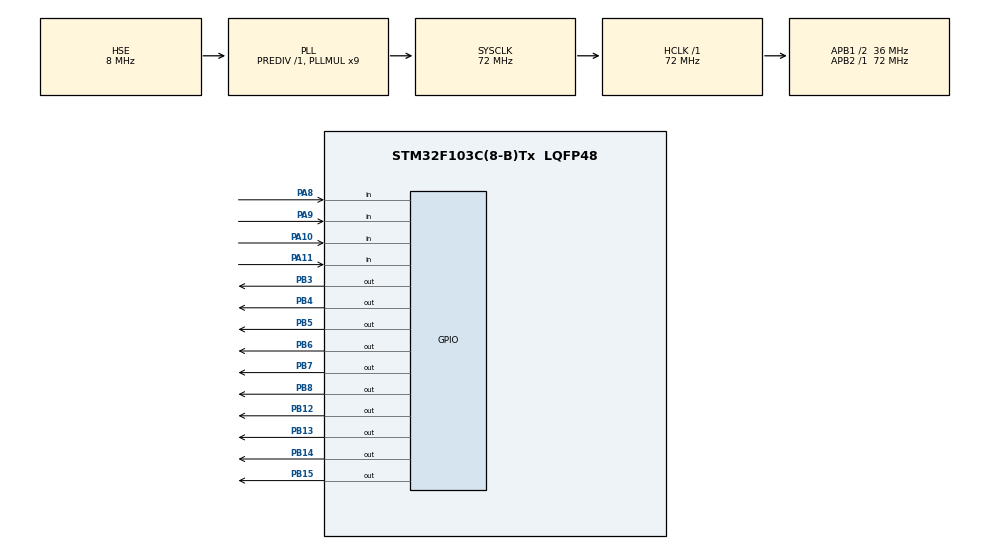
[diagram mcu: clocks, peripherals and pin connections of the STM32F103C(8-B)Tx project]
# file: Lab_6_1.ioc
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Mcu.Family=STM32F1
Mcu.Name=STM32F103C(8-B)Tx
Mcu.Package=LQFP48
NVIC.PriorityGroup=NVIC_PRIORITYGROUP_4
PA10.GPIO_PuPd=GPIO_PULLUP
PA10.Signal=GPIO_Input
PA11.GPIO_PuPd=GPIO_PULLUP
PA11.Signal=GPIO_Input
PA13.Mode=Serial_Wire
PA13.Signal=SYS_JTMS-SWDIO
PA14.Mode=Serial_Wire
PA14.Signal=SYS_JTCK-SWCLK
PA8.GPIO_PuPd=GPIO_PULLUP
PA8.Signal=GPIO_Input
PA9.GPIO_PuPd=GPIO_PULLUP
PA9.Signal=GPIO_Input
PB12.Signal=GPIO_Output
PB13.Signal=GPIO_Output
PB14.Signal=GPIO_Output
PB15.Signal=GPIO_Output
PB3.Signal=GPIO_Output
PB4.Signal=GPIO_Output
PB5.Signal=GPIO_Output
PB6.Signal=GPIO_Output
PB7.Signal=GPIO_Output
PB8.Signal=GPIO_Output
PD0-OSC_IN.Mode=HSE-External-Oscillator
PD0-OSC_IN.Signal=RCC_OSC_IN
PD1-OSC_OUT.Mode=HSE-External-Oscillator
PD1-OSC_OUT.Signal=RCC_OSC_OUT
ProjectManager.HeapSize=0x200
ProjectManager.StackSize=0x400
ProjectManager.TargetToolchain=STM32CubeIDE
RCC.AHBFreq_Value=72000000
RCC.APB1CLKDivider=RCC_HCLK_DIV2
RCC.APB1Freq_Value=36000000
RCC.APB1TimFreq_Value=72000000
RCC.APB2Freq_Value=72000000
RCC.APB2TimFreq_Value=72000000
RCC.HCLKFreq_Value=72000000
RCC.PLLMUL=RCC_PLL_MUL9
RCC.PLLSourceVirtual=RCC_PLLSOURCE_HSE
RCC.SYSCLKFreq_VALUE=72000000
RCC.SYSCLKSource=RCC_SYSCLKSOURCE_PLLCLK
RCC.USBFreq_Value=72000000
board=custom

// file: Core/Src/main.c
/* USER CODE BEGIN Header */
/**
 ******************************************************************************
 * @file           : main.c
 * @brief          : Main program body
 ******************************************************************************
 * @attention
 *
 * Copyright (c) 2024 STMicroelectronics.
 * All rights reserved.
 *
 * This software is licensed under terms that can be found in the LICENSE file
 * in the root directory of this software component.
 * If no LICENSE file comes with this software, it is provided AS-IS.
 *
 ******************************************************************************
 */
/* USER CODE END Header */
#include "main.h"

/* USER CODE BEGIN Includes */
#include "lcd.h"
#include "stdio.h"
/* USER CODE END Includes */

/* USER CODE BEGIN PV */
char str[16];
char key;
/* USER CODE END PV */

void SystemClock_Config(void);
static void MX_GPIO_Init(void);

int main(void) {

	/* MCU Configuration--------------------------------------------------------*/

	/* Reset of all peripherals, Initializes the Flash interface and the Systick. */
	HAL_Init();

	/* Configure the system clock */
	SystemClock_Config();

	/* Initialize all configured peripherals */
	MX_GPIO_Init();
	  /* USER CODE BEGIN 2 */
	  #define MAX_N 10
	  uint8_t n;
	  int16_t tryCount;
	  int8_t keyInt;
	  LCD_init();
	  LCD_String("Eneter 1..9");
	  // hal_tickc
	  n = rand() % MAX_N;
	    tryCount = n;
	    while(tryCount){
	    char key = read_keypad();
	    if('0' <= key && key <= '9'){
	      keyInt = key - '0';
	      tryCount--;
	      LCD_Clear();
	      LCD_SetPos(0, 1);
	      LCD_SendChar(key);
	      LCD_SetPos(0, 0);
	      if(n < keyInt) LCD_String("Number lower");
	      else if(n > keyInt) LCD_String("Number higher");
	      else tryCount = 0;
	    }
	  }

	  LCD_Clear();
	  LCD_SetPos(0, 1);
	  if(n == keyInt)     LCD_String("You win!");
	  else LCD_String("STM32 wins!");
	  /* USER CODE END 2 */

	/* Infinite loop */
	while (1) {

}
}

void SystemClock_Config(void) {
	RCC_OscInitTypeDef RCC_OscInitStruct = { 0 };
	RCC_ClkInitTypeDef RCC_ClkInitStruct = { 0 };

	/** Initializes the RCC Oscillators according to the specified parameters
	 * in the RCC_OscInitTypeDef structure.
	 */
	RCC_OscInitStruct.OscillatorType = RCC_OSCILLATORTYPE_HSE;
	RCC_OscInitStruct.HSEState = RCC_HSE_ON;
	RCC_OscInitStruct.HSEPredivValue = RCC_HSE_PREDIV_DIV1;
	RCC_OscInitStruct.HSIState = RCC_HSI_ON;
	RCC_OscInitStruct.PLL.PLLState = RCC_PLL_ON;
	RCC_OscInitStruct.PLL.PLLSource = RCC_PLLSOURCE_HSE;
	RCC_OscInitStruct.PLL.PLLMUL = RCC_PLL_MUL9;
	if (HAL_RCC_OscConfig(&RCC_OscInitStruct) != HAL_OK) {
		Error_Handler();
	}

	/** Initializes the CPU, AHB and APB buses clocks
	 */
	RCC_ClkInitStruct.ClockType = RCC_CLOCKTYPE_HCLK | RCC_CLOCKTYPE_SYSCLK
			| RCC_CLOCKTYPE_PCLK1 | RCC_CLOCKTYPE_PCLK2;
	RCC_ClkInitStruct.SYSCLKSource = RCC_SYSCLKSOURCE_PLLCLK;
	RCC_ClkInitStruct.AHBCLKDivider = RCC_SYSCLK_DIV1;
	RCC_ClkInitStruct.APB1CLKDivider = RCC_HCLK_DIV2;
	RCC_ClkInitStruct.APB2CLKDivider = RCC_HCLK_DIV1;

	if (HAL_RCC_ClockConfig(&RCC_ClkInitStruct, FLASH_LATENCY_2) != HAL_OK) {
		Error_Handler();
	}
}

static void MX_GPIO_Init(void) {
	GPIO_InitTypeDef GPIO_InitStruct = { 0 };

	/* GPIO Ports Clock Enable */
	__HAL_RCC_GPIOD_CLK_ENABLE();
	__HAL_RCC_GPIOB_CLK_ENABLE();
	__HAL_RCC_GPIOA_CLK_ENABLE();

	/*Configure GPIO pin Output Level */
	HAL_GPIO_WritePin(GPIOB,
			GPIO_PIN_12 | GPIO_PIN_13 | GPIO_PIN_14 | GPIO_PIN_15 | GPIO_PIN_3
					| GPIO_PIN_4 | GPIO_PIN_5 | GPIO_PIN_6 | GPIO_PIN_7
					| GPIO_PIN_8, GPIO_PIN_RESET);

	/*Configure GPIO pins : PB12 PB13 PB14 PB15
	 PB3 PB4 PB5 PB6
	 PB7 PB8 */
	GPIO_InitStruct.Pin = GPIO_PIN_12 | GPIO_PIN_13 | GPIO_PIN_14 | GPIO_PIN_15
			| GPIO_PIN_3 | GPIO_PIN_4 | GPIO_PIN_5 | GPIO_PIN_6 | GPIO_PIN_7
			| GPIO_PIN_8;
	GPIO_InitStruct.Mode = GPIO_MODE_OUTPUT_PP;
	GPIO_InitStruct.Pull = GPIO_NOPULL;
	GPIO_InitStruct.Speed = GPIO_SPEED_FREQ_LOW;
	HAL_GPIO_Init(GPIOB, &GPIO_InitStruct);

	/*Configure GPIO pins : PA8 PA9 PA10 PA11 */
	GPIO_InitStruct.Pin = GPIO_PIN_8 | GPIO_PIN_9 | GPIO_PIN_10 | GPIO_PIN_11;
	GPIO_InitStruct.Mode = GPIO_MODE_INPUT;
	GPIO_InitStruct.Pull = GPIO_PULLUP;
	HAL_GPIO_Init(GPIOA, &GPIO_InitStruct);

}

void Error_Handler(void) {
	__disable_irq();
	while (1) {
	}
}
